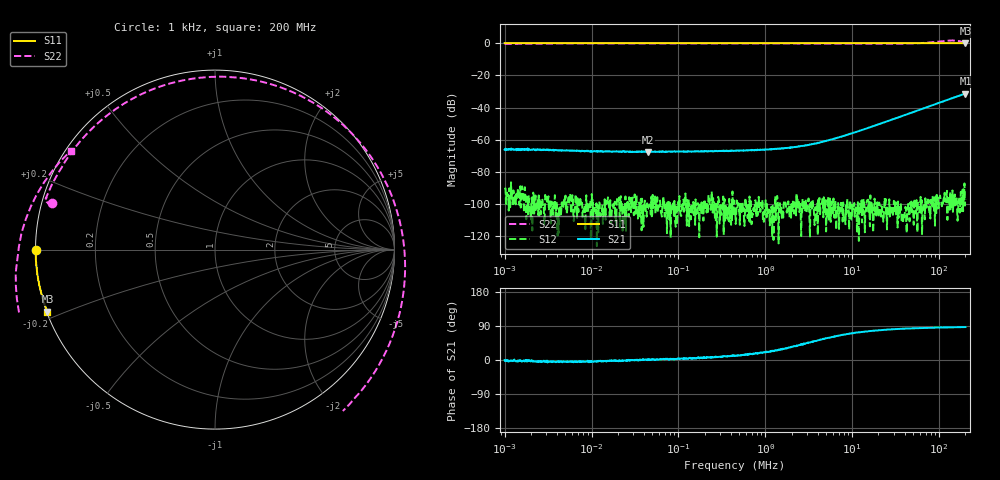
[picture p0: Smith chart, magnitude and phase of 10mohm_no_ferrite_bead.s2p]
! ListType=Log
# MHZ S RI R 50
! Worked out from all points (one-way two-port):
!   1000 points, 1 kHz to 200 MHz, reference 50 ohm
!   highest |S21| = -31.30 dB at 200 MHz (marker M1); lowest = -67.6 dB at 44.15 kHz (marker M2)
!   lowest |S11| = 0.0 dB at 200 MHz (marker M3), VSWR 450.03, Z = 0.115 - j8.98 ohm
!   |S11| at or under -10 dB: nowhere
!   |S22| runs from -0.5 to 1.7 dB; largest |S21 - S12| = 0.027
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0.001  -0.9987 -0.000155  0.000492 -5.7e-06  -1.15e-05 -2.99e-05  -0.9089 0.26
0.0076941  -0.9995 -0.000135  0.000452 -3.98e-05  -2.1e-06 8.4e-06  -0.9422 0.2759
0.0441534  -0.9995 -3.13e-05  0.000415 -2.7e-06  4e-07 -7.3e-06  -0.9412 0.2871
0.0584804  -0.9994 -8.12e-05  0.000426 9.5e-06  1.1e-06 -7.5e-06  -0.9406 0.2882
0.4499541  -0.9994 -0.00075  0.00045 8.41e-05  1.8e-06 7.1e-06  -0.9349 0.303
3.419952  -0.9993 -0.00622  0.000496 0.000549  -1.8e-06 -7.2e-06  -0.8867 0.4028
12.03851  -0.9991 -0.0218  0.000557 0.00181  -7.5e-06 -3e-07  -0.7122 0.6466
18.46267  -0.9989 -0.0333  0.000599 0.00274  1.7e-06 -4.3e-06  -0.5466 0.7874
26.31347  -0.9984 -0.0474  0.000646 0.00386  3.6e-06 -3.5e-06  -0.3118 0.9064
38.43037  -0.9971 -0.069  0.000708 0.00555  1.2e-06 -2.3e-06  0.0882 0.9611
50.9003  -0.9952 -0.0912  0.000807 0.00728  -1e-07 -2.3e-06  0.4925 0.8486
64.99008  -0.9924 -0.1162  0.000882 0.00924  6e-06 -3.9e-06  0.8567 0.5339
81.97236  -0.9883 -0.1462  0.000979 0.0116  5.3e-06 -7.1e-06  1.057 -0.0223
92.62555  -0.9851 -0.165  0.00103 0.013  -3.4e-06 -4.1e-06  1.016 -0.4025
103.3922  -0.9816 -0.1837  0.00109 0.0145  -9.6e-06 -1.12e-05  0.8402 -0.7545
116.8291  -0.9766 -0.2072  0.00116 0.0163  1.25e-05 -4.9e-06  0.4616 -1.075
128.8255  -0.9716 -0.2279  0.0012 0.0179  -1.25e-05 -1.01e-05  0.0311 -1.195
145.5678  -0.9636 -0.2569  0.0014 0.0202  5.8e-06 -1.22e-05  -0.5687 -1.06
164.4859  -0.9545 -0.2884  0.00136 0.0226  4.6e-06 -3.3e-06  -1.028 -0.5582
179.1732  -0.946 -0.3121  0.00136 0.0245  -1.87e-05 -8.8e-06  -1.102 -0.0581
190.4604  -0.9395 -0.3313  0.00144 0.026  -2.41e-05 -1.66e-05  -0.9929 0.3077
200  -0.9334 -0.3463  0.00146 0.0272  -1.29e-05 -6.6e-06  -0.8026 0.5506
